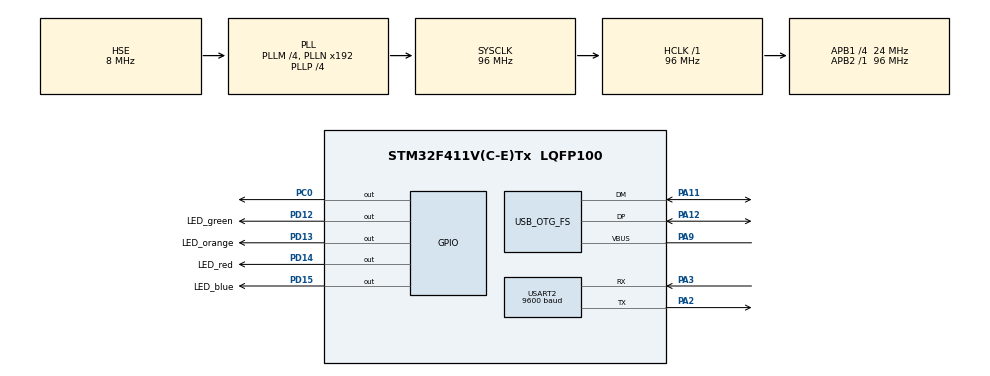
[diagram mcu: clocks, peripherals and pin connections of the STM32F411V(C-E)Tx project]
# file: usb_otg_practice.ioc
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FATFS._FS_EXFAT=1
FATFS._MAX_SS=4096
FATFS._USE_LFN=1
Mcu.Family=STM32F4
Mcu.Name=STM32F411V(C-E)Tx
Mcu.Package=LQFP100
NVIC.OTG_FS_IRQn=true\:0\:0\:false\:false\:true\:true\:true\:true
NVIC.PriorityGroup=NVIC_PRIORITYGROUP_0
PA11.Mode=Host_Only
PA11.Signal=USB_OTG_FS_DM
PA12.Mode=Host_Only
PA12.Signal=USB_OTG_FS_DP
PA2.Mode=Asynchronous
PA2.Signal=USART2_TX
PA3.Mode=Asynchronous
PA3.Signal=USART2_RX
PA9.Mode=Activate_VBUS
PA9.Signal=USB_OTG_FS_VBUS
PC0.Signal=GPIO_Output
PD12.GPIO_Label=LED_green
PD12.Signal=GPIO_Output
PD13.GPIO_Label=LED_orange
PD13.Signal=GPIO_Output
PD14.GPIO_Label=LED_red
PD14.Signal=GPIO_Output
PD15.GPIO_Label=LED_blue
PD15.Signal=GPIO_Output
PH0\ -\ OSC_IN.Mode=HSE-External-Oscillator
PH0\ -\ OSC_IN.Signal=RCC_OSC_IN
PH1\ -\ OSC_OUT.Mode=HSE-External-Oscillator
PH1\ -\ OSC_OUT.Signal=RCC_OSC_OUT
ProjectManager.HeapSize=0x200
ProjectManager.StackSize=0x400
ProjectManager.TargetToolchain=STM32CubeIDE
RCC.48MHZClocksFreq_Value=48000000
RCC.AHBFreq_Value=96000000
RCC.APB1CLKDivider=RCC_HCLK_DIV4
RCC.APB1Freq_Value=24000000
RCC.APB1TimFreq_Value=48000000
RCC.APB2Freq_Value=96000000
RCC.APB2TimFreq_Value=96000000
RCC.CortexFreq_Value=96000000
RCC.HCLKFreq_Value=96000000
RCC.HSE_VALUE=8000000
RCC.HSI_VALUE=16000000
RCC.LSE_VALUE=32768
RCC.PLLI2SM=5
RCC.PLLI2SN=200
RCC.PLLM=4
RCC.PLLP=RCC_PLLP_DIV4
RCC.PLLQ=8
RCC.SYSCLKFreq_VALUE=96000000
RCC.SYSCLKSource=RCC_SYSCLKSOURCE_PLLCLK
RCC.VCOOutputFreq_Value=384000000
USART2.BaudRate=9600
USART2.VirtualMode=VM_ASYNC
USB_HOST.USBH_HandleTypeDef=hUsbHostFS
USB_HOST.VirtualModeFS=Msc
USB_OTG_FS.VirtualMode=Host_Only
USB_OTG_FS.phy_itface=HCD_PHY_EMBEDDED
VP_FATFS_VS_USB.Mode=USB
VP_USB_HOST_VS_USB_HOST_MSC_FS.Mode=MSC_FS
board=STM32F411E-DISCO

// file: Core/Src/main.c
/* USER CODE BEGIN Header */
/**
  ******************************************************************************
  * @file           : main.c
  * @brief          : Main program body
  ******************************************************************************
  * @attention
  *
  * Copyright (c) 2023 STMicroelectronics.
  * All rights reserved.
  *
  * This software is licensed under terms that can be found in the LICENSE file
  * in the root directory of this software component.
  * If no LICENSE file comes with this software, it is provided AS-IS.
  *
  ******************************************************************************
  */
/* USER CODE END Header */
#include <stdio.h>
#include "main.h"
#include "fatfs.h"
#include "usart.h"
#include "usb_host.h"
#include "gpio.h"
//#include "hexFileParser.h"
#include "usb_bootloader.h"

/* USER CODE BEGIN PD */
#define APPLICATION_ADDRESS 0x08010000
/* USER CODE END PD */

/* USER CODE BEGIN PV */
FATFS USBDISKFatFs;           /* File system object for USB disk logical drive */
//FIL MyFile, LogFile, CopyFile;                   /* File object */
char USBDISKPath[4];          /* USB Host logical drive path */
extern ApplicationTypeDef Appli_state;
/* USER CODE END PV */

void SystemClock_Config(void);
void MX_USB_HOST_Process(void);

/* USER CODE BEGIN PFP */
static void MSC_Application(void);
/* USER CODE END PFP */

int main(void)
{

  /* MCU Configuration--------------------------------------------------------*/

  /* Reset of all peripherals, Initializes the Flash interface and the Systick. */
  HAL_Init();

  /* Configure the system clock */
  SystemClock_Config();

  /* Initialize all configured peripherals */
  MX_GPIO_Init();
  MX_USB_HOST_Init();
  MX_USART2_UART_Init();
  MX_FATFS_Init();
  /* USER CODE BEGIN 2 */

  typedef  void (*pFunction)(void);
  pFunction Jump_To_Application;
  uint32_t JumpAddress;
  JumpAddress = *(__IO uint32_t*) (APPLICATION_ADDRESS + 4);
  Jump_To_Application = (pFunction) JumpAddress;
  /* USER CODE END 2 */

  /* Infinite loop */
  /* USER CODE BEGIN WHILE */
  uint8_t start_msg[] = "**************** USB Example Start ***************\r\n";
  HAL_UART_Transmit(&huart2, start_msg, sizeof(start_msg), 100);
  while (1)
  {
    /* USER CODE END WHILE */
    MX_USB_HOST_Process();

    /* USER CODE BEGIN 3 */
    switch(Appli_state)
    {
    case APPLICATION_DISCONNECT:
    	HAL_GPIO_WritePin(GPIOD, LED_green_Pin, GPIO_PIN_RESET);
     	break;
    case APPLICATION_READY:
     	HAL_UART_Transmit(&huart2, (uint8_t*)"Ready\r\n", 7, 100);
     	HAL_GPIO_WritePin(GPIOD, LED_green_Pin, GPIO_PIN_SET);
       	MSC_Application();
       	HAL_GPIO_WritePin(GPIOD, LED_green_Pin, GPIO_PIN_RESET);
       	HAL_GPIO_WritePin(GPIOD, LED_blue_Pin, GPIO_PIN_SET);

       	SCB->VTOR = APPLICATION_ADDRESS;
       	__set_MSP(*(__IO uint32_t*) APPLICATION_ADDRESS);
       	Jump_To_Application();

       	Appli_state = 5;
       	break;
    default:
      	//do nothing
       	break;
    }
  }
  /* USER CODE END 3 */
}

void SystemClock_Config(void)
{
  RCC_OscInitTypeDef RCC_OscInitStruct = {0};
  RCC_ClkInitTypeDef RCC_ClkInitStruct = {0};

  /** Configure the main internal regulator output voltage
  */
  __HAL_RCC_PWR_CLK_ENABLE();
  __HAL_PWR_VOLTAGESCALING_CONFIG(PWR_REGULATOR_VOLTAGE_SCALE1);

  /** Initializes the RCC Oscillators according to the specified parameters
  * in the RCC_OscInitTypeDef structure.
  */
  RCC_OscInitStruct.OscillatorType = RCC_OSCILLATORTYPE_HSE;
  RCC_OscInitStruct.HSEState = RCC_HSE_ON;
  RCC_OscInitStruct.PLL.PLLState = RCC_PLL_ON;
  RCC_OscInitStruct.PLL.PLLSource = RCC_PLLSOURCE_HSE;
  RCC_OscInitStruct.PLL.PLLM = 4;
  RCC_OscInitStruct.PLL.PLLN = 192;
  RCC_OscInitStruct.PLL.PLLP = RCC_PLLP_DIV4;
  RCC_OscInitStruct.PLL.PLLQ = 8;
  if (HAL_RCC_OscConfig(&RCC_OscInitStruct) != HAL_OK)
  {
    Error_Handler();
  }

  /** Initializes the CPU, AHB and APB buses clocks
  */
  RCC_ClkInitStruct.ClockType = RCC_CLOCKTYPE_HCLK|RCC_CLOCKTYPE_SYSCLK
                              |RCC_CLOCKTYPE_PCLK1|RCC_CLOCKTYPE_PCLK2;
  RCC_ClkInitStruct.SYSCLKSource = RCC_SYSCLKSOURCE_PLLCLK;
  RCC_ClkInitStruct.AHBCLKDivider = RCC_SYSCLK_DIV1;
  RCC_ClkInitStruct.APB1CLKDivider = RCC_HCLK_DIV4;
  RCC_ClkInitStruct.APB2CLKDivider = RCC_HCLK_DIV1;

  if (HAL_RCC_ClockConfig(&RCC_ClkInitStruct, FLASH_LATENCY_3) != HAL_OK)
  {
    Error_Handler();
  }
}

/* USER CODE BEGIN 4 */
static void MSC_Application(void)
{
	  // Register the file system object to the FatFs module
	  if(f_mount(&USBDISKFatFs, (TCHAR const*)USBDISKPath, 0) != FR_OK)
	  {
	    // FatFs Initialization Error
		  HAL_UART_Transmit(&huart2, (uint8_t*)"USB Init Error\r\n", 16, 100);
		  return;
	  }
	  HAL_UART_Transmit(&huart2, (uint8_t*)"USB Mounted. Booting Image From Flash Drive...\r\n", 48, 100);
	  boot_from_USBFlash();
}

/* USER CODE END 4 */

void Error_Handler(void)
{
  __disable_irq();
  while (1)
  {
  }
}
